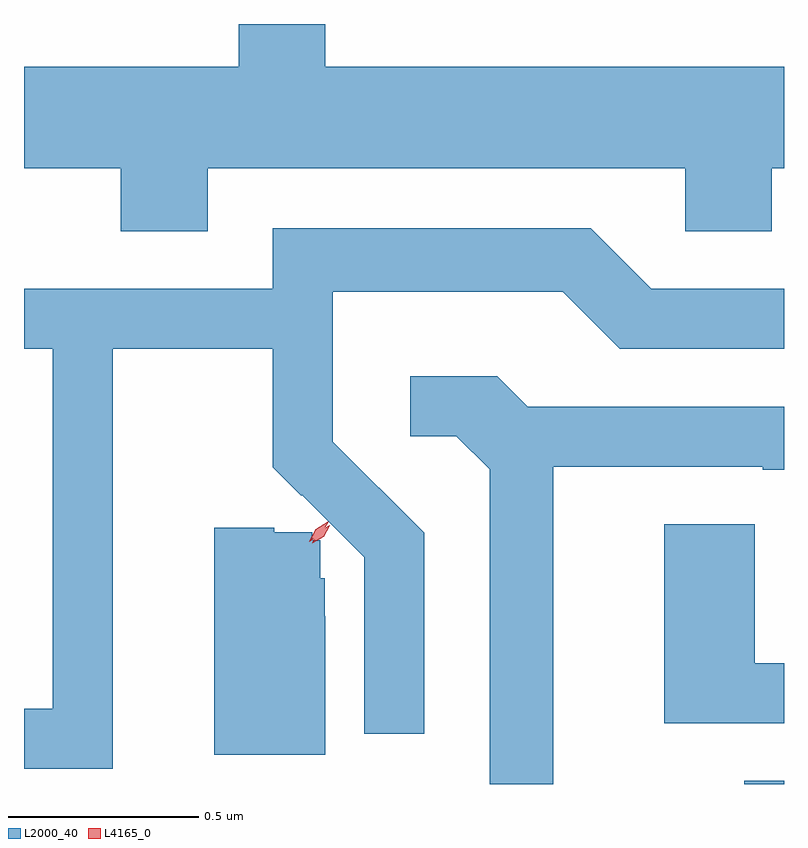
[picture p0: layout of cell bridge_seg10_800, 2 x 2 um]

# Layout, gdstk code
import gdstk
lib = gdstk.Library(unit=1e-6, precision=1e-09)
def R(c, l, rs):  # rectangles x0, y0, x1, y1
    for r in rs: c.add(gdstk.rectangle(r[:2], r[2:], *l))
def P(c, l, *ps):  # polygons
    for p in ps: c.add(gdstk.Polygon(p, *l))
L2000_40 = (2000, 40)
L4165_0 = (4165, 0)

bridge_seg10_800 = lib.new_cell('bridge_seg10_800')
R(bridge_seg10_800, L2000_40, [(607.091,2152.256,607.196,2152.264)])
P(bridge_seg10_800, L2000_40, [(605.679,2153.876),(606.936,2153.876),(606.936,2153.711),(607.164,2153.711),(607.164,2153.876),(607.196,2153.876),(607.196,2154.144),(605.989,2154.144),(605.989,2154.256),(605.761,2154.256),(605.761,2154.144),(605.196,2154.144),(605.196,2153.876),(605.451,2153.876),(605.451,2153.711),(605.679,2153.711)],
  [(605.429,2153.401),(605.851,2153.401),(605.851,2153.089),(605.926,2153.014),(605.928,2153.016),(606.091,2152.853),(606.091,2152.388),(606.249,2152.388),(606.249,2152.917),(606.009,2153.157),(606.009,2153.551),(606.614,2153.551),(606.764,2153.401),(607.196,2153.401),(607.196,2153.559),(606.847,2153.559),(606.687,2153.719),(605.851,2153.719),(605.851,2153.559),(605.196,2153.559),(605.196,2153.401),(605.271,2153.401),(605.271,2152.454),(605.196,2152.454),(605.196,2152.296),(605.429,2152.296)],
  [(606.589,2153.091),(607.14,2153.091),(607.14,2153.083),(607.196,2153.083),(607.196,2153.249),(606.522,2153.249),(606.442,2153.329),(606.213,2153.329),(606.213,2153.171),(606.334,2153.171),(606.421,2153.084),(606.421,2152.256),(606.589,2152.256)],
  [(607.196,2152.574),(607.119,2152.574),(607.119,2152.939),(606.881,2152.939),(606.881,2152.416),(607.196,2152.416)],
  [(605.989,2152.697),(605.988,2152.697),(605.988,2152.797),(605.975,2152.797),(605.975,2152.897),(605.955,2152.897),(605.955,2152.918),(605.855,2152.918),(605.855,2152.931),(605.696,2152.931),(605.696,2152.333),(605.989,2152.333)])
P(bridge_seg10_800, L4165_0, [(605.946,2152.894),(605.946,2152.895),(605.964,2152.927),(605.995,2152.946),(605.996,2152.946),(605.996,2152.945),(605.978,2152.913),(605.947,2152.894)],
  [(605.954,2152.89),(605.954,2152.891),(605.971,2152.921),(606,2152.937),(606.001,2152.937),(606.001,2152.936),(605.985,2152.907),(605.955,2152.89)])

lib.write_gds('bridge_seg10_800.gds')
